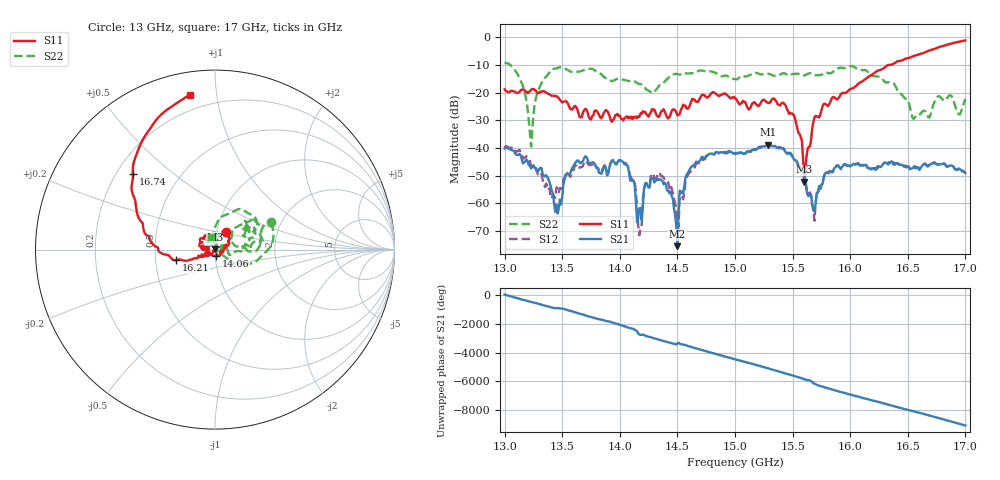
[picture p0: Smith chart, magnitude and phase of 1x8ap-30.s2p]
!Keysight Technologies,P9374A,MY57211807,A.19.30.04
!Date: Friday, May 08, 2026 15:43:21
!Correction: S11(C  2-Port  )
!S21(C  2-Port  )
!S12(C  2-Port  )
!S22(C  2-Port  )
!S2P File: Measurements: S11, S21, S12, S22:
# Hz S  dB  R 50
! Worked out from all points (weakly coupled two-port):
!   401 points, 13 GHz to 17 GHz, reference 50 ohm
!   highest |S21| = -38.83 dB at 15.29 GHz (marker M1); lowest = -75.4 dB at 14.5 GHz (marker M2)
!   lowest |S11| = -52.2 dB at 15.6 GHz (marker M3), VSWR 1.00, Z = 50 + j0.241 ohm
!   |S11| at or under -10 dB: start of sweep to 16.34 GHz
!   |S22| runs from -39.5 to -9.2 dB; largest |S21 - S12| = 0.0017
!   S11 on the Smith chart (normalised r, x): 13 GHz: 1.11, +0.22; 14.06 GHz: 1.01, -0.07; 16.21 GHz: 0.64, -0.08; 16.74 GHz: 0.27, +0.37; 17 GHz: 0.12, +0.84
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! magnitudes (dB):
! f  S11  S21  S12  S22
! 13 GHz  -18.8  -40.1  -39.7  -9.2
! 13.14 GHz  -19.1  -42.8  -41.5  -15.8
! 13.23 GHz  -19.0  -47.4  -46.9  -39.5
! 13.3 GHz  -20.1  -47.6  -49.5  -18.4
! 13.45 GHz  -21.2  -60.4  -54.2  -11.3
! 13.67 GHz  -28.9  -45.1  -46.9  -12.1
! 14.06 GHz  -28.6  -46.0  -46.2  -15.7
! 14.17 GHz  -28.8  -61.8  -71.5  -16.9
! 14.34 GHz  -28.8  -51.5  -49.6  -17.6
! 14.5 GHz  -28.3  -75.4  -67.4  -13.3
! 14.62 GHz  -23.2  -46.8  -48.0  -13.0
! 15 GHz  -21.9  -42.2  -42.1  -15.1
! 15.29 GHz  -23.8  -38.8  -38.9  -13.2
! 15.5 GHz  -27.7  -43.3  -43.1  -13.3
! 15.6 GHz  -52.2  -49.4  -48.9  -13.8
! 15.67 GHz  -33.0  -60.1  -60.7  -13.1
! 15.88 GHz  -22.4  -46.4  -46.6  -11.6
! 16.21 GHz  -12.9  -47.5  -47.2  -14.1
! 16.34 GHz  -10.0  -45.0  -45.4  -16.3
! 16.55 GHz  -6.8  -47.1  -46.8  -29.5
! 16.74 GHz  -4.1  -45.6  -45.7  -22.5
! 17 GHz  -1.2  -49.1  -49.0  -22.3
